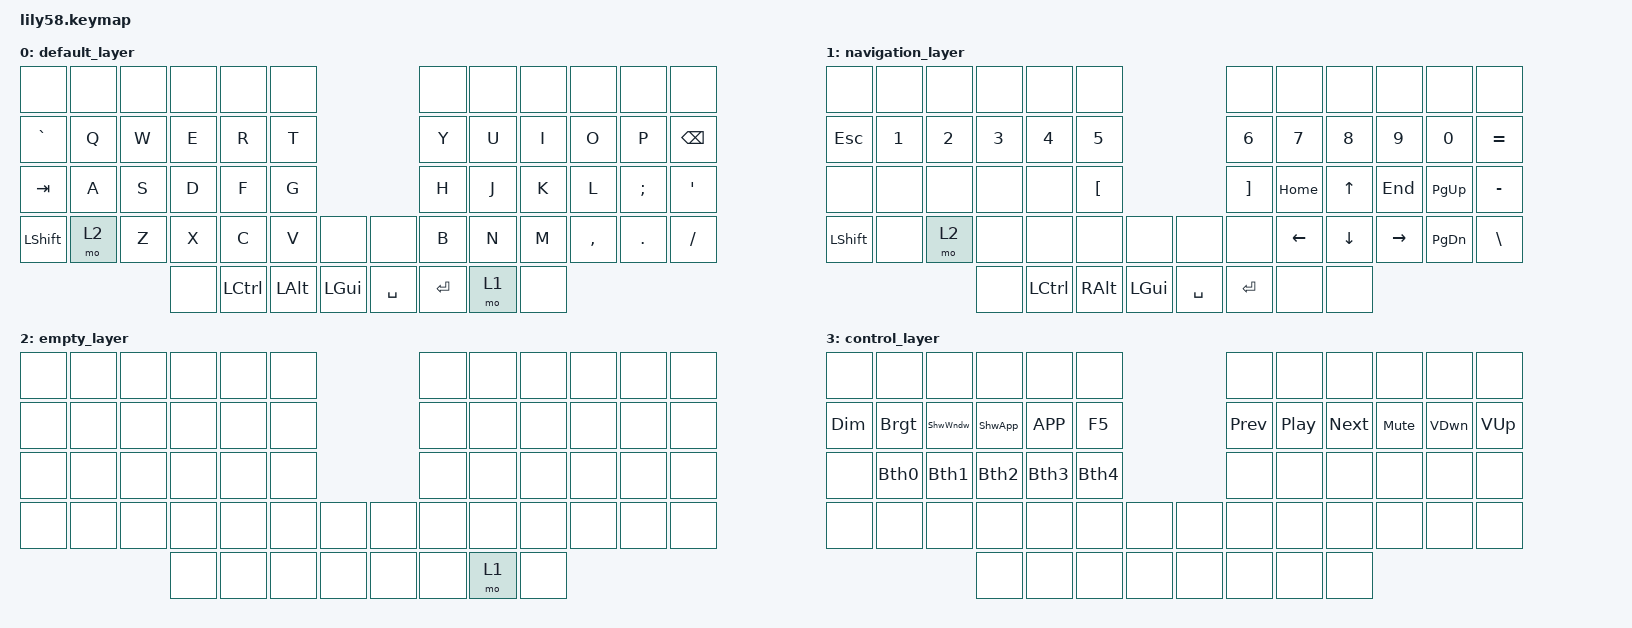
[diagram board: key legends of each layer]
/*
 * Copyright (c) 2020 The ZMK Contributors
 *
 * SPDX-License-Identifier: MIT
 */

#include <behaviors.dtsi>
#include <dt-bindings/zmk/keys.h>
#include <dt-bindings/zmk/bt.h>
#include <dt-bindings/zmk/ext_power.h>
#include <dt-bindings/zmk/outputs.h>

#define MO_TOG(layer) &mo_tog layer layer   // Macro to apply momentary-layer-on-hold/toggle-layer-on-tap to a specific layer
#define DEFAULT 0
#define NAV     1
#define EMP     2
#define CTRL    3


/ {
    conditional_layers {
        compatible = "zmk,conditional-layers";
        tri_layer {
            if-layers = <1 2>;
            then-layer = <3>;
        };
    };

    behaviors {
        // Rename C_AC_DESKTOP_SHOW_ALL_APPLICATIONS
            ShwApp: show_app {
                compatible = "zmk,behavior-mod-morph";
                #binding-cells = <0>;
                bindings = <&kp C_AC_DESKTOP_SHOW_ALL_APPLICATIONS>, <&kp C_AC_DESKTOP_SHOW_ALL_APPLICATIONS>;
                mods = <(MOD_LGUI)>;
            };
        // Rename C_AC_DESKTOP_SHOW_ALL_WINDOWS
            ShwWndw: show_window {
                compatible = "zmk,behavior-mod-morph";
                #binding-cells = <0>;
                bindings = <&kp C_AC_DESKTOP_SHOW_ALL_WINDOWS>, <&kp C_AC_DESKTOP_SHOW_ALL_WINDOWS>;
                mods = <(MOD_LGUI)>;
            };
        // CMD + BACKSPACE = DELETE
            bsdel: backspace_del {
                compatible = "zmk,behavior-mod-morph";
                #binding-cells = <0>;
                bindings = <&kp BACKSPACE>, <&kp DELETE>;
                mods = <(MOD_LGUI)>;
            };
        // Rename Bluetooth 0
            Bth0: bluetooth_0 {
                compatible = "zmk,behavior-mod-morph";
                #binding-cells = <0>;
                bindings = <&bt BT_SEL 0>, <&bt BT_SEL 0>;
                mods = <(MOD_LGUI)>;
            };
        // Rename Bluetooth 1
            Bth1: bluetooth_1 {
                compatible = "zmk,behavior-mod-morph";
                #binding-cells = <0>;
                bindings = <&bt BT_SEL 1>, <&bt BT_SEL 1>;
                mods = <(MOD_LGUI)>;
            };
        // Rename Bluetooth 2
            Bth2: bluetooth_2 {
                compatible = "zmk,behavior-mod-morph";
                #binding-cells = <0>;
                bindings = <&bt BT_SEL 2>, <&bt BT_SEL 2>;
                mods = <(MOD_LGUI)>;
            };
        // Rename Bluetooth 3
            Bth3: bluetooth_3 {
                compatible = "zmk,behavior-mod-morph";
                #binding-cells = <0>;
                bindings = <&bt BT_SEL 3>, <&bt BT_SEL 3>;
                mods = <(MOD_LGUI)>;
            };
        // Rename Bluetooth 4
            Bth4: bluetooth_4 {
                compatible = "zmk,behavior-mod-morph";
                #binding-cells = <0>;
                bindings = <&bt BT_SEL 4>, <&bt BT_SEL 4>;
                mods = <(MOD_LGUI)>;
            };
        // Rename Dim
            Dim: brightness_down {
                compatible = "zmk,behavior-mod-morph";
                #binding-cells = <0>;
                bindings = <&kp C_BRI_DN>, <&kp C_BRI_DN>;
                mods = <(MOD_LGUI)>;
            };
        // Rename Bright
            Brgt: brightness_up {
                compatible = "zmk,behavior-mod-morph";
                #binding-cells = <0>;
                bindings = <&kp C_BRI_UP>, <&kp C_BRI_UP>;
                mods = <(MOD_LGUI)>;
            };
        // Rename Previous
            Prev: previous {
                compatible = "zmk,behavior-mod-morph";
                #binding-cells = <0>;
                bindings = <&kp C_PREV>, <&kp C_PREV>;
                mods = <(MOD_LGUI)>;
            };
        // Rename Play Pause
            Play: play_pause {
                compatible = "zmk,behavior-mod-morph";
                #binding-cells = <0>;
                bindings = <&kp C_PP>, <&kp C_PP>;
                mods = <(MOD_LGUI)>;
            };
        // Rename Next
            Next: next {
                compatible = "zmk,behavior-mod-morph";
                #binding-cells = <0>;
                bindings = <&kp C_NEXT>, <&kp C_NEXT>;
                mods = <(MOD_LGUI)>;
            };
        // Rename Mute
            Mute: mute {
                compatible = "zmk,behavior-mod-morph";
                #binding-cells = <0>;
                bindings = <&kp C_MUTE>, <&kp C_MUTE>;
                mods = <(MOD_LGUI)>;
            };
        // Rename Volume Down
            VDwn: volume_down {
                compatible = "zmk,behavior-mod-morph";
                #binding-cells = <0>;
                bindings = <&kp C_VOL_DN>, <&kp C_VOL_DN>;
                mods = <(MOD_LGUI)>;
            };
        // Rename Volume Up
            VUp: volume_up {
                compatible = "zmk,behavior-mod-morph";
                #binding-cells = <0>;
                bindings = <&kp C_VOL_UP>, <&kp C_VOL_UP>;
                mods = <(MOD_LGUI)>;
            };
        // Rename USB Out
            OUsb: output_usb {
                compatible = "zmk,behavior-mod-morph";
                #binding-cells = <0>;
                bindings = <&out OUT_USB>, <&out OUT_USB>;
                mods = <(MOD_LGUI)>;
            };
        // Rename Bluetooth Out
            OBth: output_bluetooth {
                compatible = "zmk,behavior-mod-morph";
                #binding-cells = <0>;
                bindings = <&out OUT_BLE>, <&out OUT_BLE>;
                mods = <(MOD_LGUI)>;
            };
        // Rename Bluetooth Clear
            BtCl: bluetooth_clear {
                compatible = "zmk,behavior-mod-morph";
                #binding-cells = <0>;
                bindings = <&bt BT_CLR>, <&bt BT_CLR>;
                mods = <(MOD_LGUI)>;
            };
    };

    keymap {
        compatible = "zmk,keymap";

        default_layer {
            // Normal Layer
                // +--------+--------+--------+--------+--------+--------+                          +--------+--------+--------+--------+--------+--------+
                // |        |        |        |        |        |        |                          |        |        |        |        |        |        |
                // +--------+--------+--------+--------+--------+--------+                          +--------+--------+--------+--------+--------+--------+
                // |   `    |   q    |   w    |   e    |   r    |   t    |                          |   y    |   u    |   i    |   o    |   p    |  BSPC  |
                // +--------+--------+--------+--------+--------+--------+                          +--------+--------+--------+--------+--------+--------+
                // | TAB    |   a    |   s    |   d    |   f    |   g    |                          |   h    |   j    |   k    |   l    |   ;    |   '    |
                // +--------+--------+--------+--------+--------+--------+--------+        +--------+--------+--------+--------+--------+--------+--------+
                // | SHIFT  |  LYER2 |   z    |   x    |   c    |   v    |        |        |        |   b    |   n    |   m    |   ,    |   .    |   /    |
                // +--------+--------+--------+--------+--------+--------+--------+        +--------+--------+--------+--------+--------+--------+--------+
                //                            |        |  CTRL  |  OPT   |  CMD   |        | SPACE  | ENTER  | LAYER  |        |
                //                            +--------+--------+--------+--------+        +--------+--------+--------+--------+

            // Shift Layer (Momentary)
                // +--------+--------+--------+--------+--------+--------+                          +--------+--------+--------+--------+--------+--------+
                // |        |        |        |        |        |        |                          |        |        |        |        |        |        |
                // +--------+--------+--------+--------+--------+--------+                          +--------+--------+--------+--------+--------+--------+
                // |   ~    |   Q    |   W    |   E    |   R    |   T    |                          |   Y    |   U    |   I    |   O    |   P    |  BSPC  |
                // +--------+--------+--------+--------+--------+--------+                          +--------+--------+--------+--------+--------+--------+
                // | TAB    |   A    |   S    |   D    |   F    |   G    |                          |   H    |   J    |   K    |   L    |   ;    |   '    |
                // +--------+--------+--------+--------+--------+--------+--------+        +--------+--------+--------+--------+--------+--------+--------+
                // | SHIFT  | LAYER2 |   Z    |   X    |   C    |   V    |        |        |        |   B    |   N    |   M    |   ,    |   .    |   /    |
                // +--------+--------+--------+--------+--------+--------+--------+        +--------+--------+--------+--------+--------+--------+--------+
                //                            |        |  CTRL  |  OPT   |  CMD   |        |  SPCE  |  ENTR  |  LYER  |        |
                //                            +--------+--------+--------+--------+        +--------+--------+--------+--------+

            bindings = <
                    &none     &none    &none    &none     &none     &none                                  &none       &none       &none     &none     &none    &none
                    &kp GRAVE &kp Q    &kp W    &kp E     &kp R     &kp T                                  &kp Y       &kp U       &kp I     &kp O     &kp P    &kp BSPC
                    &kp TAB   &kp A    &kp S    &kp D     &kp F     &kp G                                  &kp H       &kp J       &kp K     &kp L     &kp SEMI &kp SQT
                    &kp LSHFT &mo 2    &kp Z    &kp X     &kp C     &kp V    &none              &none      &kp B       &kp N       &kp M     &kp COMMA &kp DOT  &kp FSLH 
                                                &none     &kp LCTRL &kp LALT &kp LGUI           &kp SPACE  &kp RET     &mo 1       &none
            >;
        };
        navigation_layer {
                                                                                                          
            // Navigation Layer (Momentary)
                // +--------+--------+--------+--------+--------+--------+                          +--------+--------+--------+--------+--------+--------+
                // |        |        |        |        |        |        |                          |        |        |        |        |        |        |
                // +--------+--------+--------+--------+--------+--------+                          +--------+--------+--------+--------+--------+--------+
                // |  ESC   |   1    |   2    |   3    |   4    |   5    |                          |   6    |   7    |   8    |   9    |   0    |   =    |
                // +--------+--------+--------+--------+--------+--------+                          +--------+--------+--------+--------+--------+--------+
                // |        |        |        |        |        |        |                          |        |  HOME  |   ^    |  END   | PG UP  |   -    |
                // +--------+--------+--------+--------+--------+--------+--------+        +--------+--------+--------+--------+--------+--------+--------+
                // | SHIFT  | LAYER2 |        |        |        |   [    |        |        |        |   ]    |   <-   |   v    |  ->    | PG DN  |   \    |
                // +--------+--------+--------+--------+--------+--------+--------+        +--------+--------+--------+--------+--------+--------+--------+
                //                            |        |  CTRL  |  OPT   |  CMD   |        |  SPCE  |  ENTR  |        |
                //                            +--------+--------+--------+--------+        +--------+--------+--------+

            // Shift Navigation Layer (Momentary)
                // +--------+--------+--------+--------+--------+--------+                          +--------+--------+--------+--------+--------+--------+
                // |        |        |        |        |        |        |                          |        |        |        |        |        |        |
                // +--------+--------+--------+--------+--------+--------+                          +--------+--------+--------+--------+--------+--------+
                // |  ESC   |   !    |   @    |   #    |   $    |   %    |                          |   ^    |   &    |   *    |   (    |   )    |   +    |
                // +--------+--------+--------+--------+--------+--------+                          +--------+--------+--------+--------+--------+--------+
                // |        |        |        |        |        |   {    |                          |   }    |  HOME  |   ^    |  END   | PG UP  |   _    |
                // +--------+--------+--------+--------+--------+--------+--------+        +--------+--------+--------+--------+--------+--------+--------+
                // |        | LAYER2 |        |        |        |        |        |        |        |        |   <-   |   v    |  ->    | PG DN  |   \    |
                // +--------+--------+--------+--------+--------+--------+--------+        +--------+--------+--------+--------+--------+--------+--------+
                //                            |        |  CTRL  |  OPT   |  CMD   |        |  SPCE  |  ENTR  |        |        |
                //                            +--------+--------+--------+--------+        +--------+--------+--------+--------+

            bindings = <
                    &none     &none    &none    &none     &none     &none                                  &none       &none       &none     &none     &none     &none
                    &kp ESC   &kp N1   &kp N2   &kp N3    &kp N4    &kp N5                                 &kp N6      &kp N7      &kp N8    &kp N9    &kp N0    &kp EQUAL
                    &none     &none    &none    &none     &none     &kp LBKT                               &kp RBKT    &kp HOME    &kp UP    &kp END   &kp PG_UP &kp MINUS
                    &kp LSHFT &none    &mo 2    &none    &none     &none      &none                 &none      &none       &kp LEFT    &kp DOWN  &kp RIGHT &kp PG_DN &kp BSLH
                                                &none     &kp LCTRL &kp RALT  &kp LGUI          &kp SPACE  &kp RET     &none       &none
            >;
        };
        empty_layer {
            // Empty Layer (Momentary)
                // +--------+--------+--------+--------+--------+--------+                          +--------+--------+--------+--------+--------+--------+
                // |        |        |        |        |        |        |                          |        |        |        |        |        |        |
                // +--------+--------+--------+--------+--------+--------+                          +--------+--------+--------+--------+--------+--------+
                // |        |        |        |        |        |        |                          |        |        |        |        |        |        |
                // +--------+--------+--------+--------+--------+--------+                          +--------+--------+--------+--------+--------+--------+
                // |        |        |        |        |        |        |                          |        |        |        |        |        |        |
                // +--------+--------+--------+--------+--------+--------+--------+        +--------+--------+--------+--------+--------+--------+--------+
                // |        |        |        |        |        |        |        |        |        |        |        |        |        |        |        |
                // +--------+--------+--------+--------+--------+--------+--------+        +--------+--------+--------+--------+--------+--------+--------+
                //                            |        |        |        |        |        |        |        | SETTNG |        |
                //                            +--------+--------+--------+--------+        +--------+--------+--------+--------+

            
            bindings = <
                    &none     &none    &none    &none     &none     &none                                  &none       &none       &none     &none     &none     &none
                    &none     &none    &none    &none     &none     &none                                  &none       &none       &none     &none     &none     &none
                    &none     &none    &none    &none     &none     &none                                  &none       &none       &none     &none     &none     &none
                    &none     &none    &none    &none     &none     &none     &none              &none     &none       &none       &none     &none     &none     &none
                                                &none     &none     &none     &none              &none     &none       &mo 1       &none
            >;
        };
        control_layer {
            //
                // +--------+--------+--------+--------+--------+--------+                          +--------+--------+--------+--------+--------+--------+
                // |        |        |        |        |        |        |                          |        |        |        |        |        |        |
                // +--------+--------+--------+--------+--------+--------+                          +--------+--------+--------+--------+--------+--------+
                // |  DIM   | BRIGHT | WINDOW |SHOWAPP |  APP   |   F5   |                          |  BACK  |  PLAY  |  NEXT  |  MUTE  | V DOWN |  V UP  |
                // +--------+--------+--------+--------+--------+--------+                          +--------+--------+--------+--------+--------+--------+
                // |        |  BT1   |  BT2   |  BT3   |  BT4   |  BT5   |                          |        |        |        |        |        |        |
                // +--------+--------+--------+--------+--------+--------+--------+        +--------+--------+--------+--------+--------+--------+--------+
                // |        |        |        |        |        |        |        |        |        |        |        |        |        |        |        |
                // +--------+--------+--------+--------+--------+--------+--------+        +--------+--------+--------+--------+--------+--------+--------+
                //                            |        |        |        |        |        |        |        |        |        |
                //                            +--------+--------+--------+--------+        +--------+--------+--------+--------+

            bindings = <
                    &none     &none    &none    &none     &none     &none                                  &none       &none       &none     &none     &none     &none
                    &Dim      &Brgt    &ShwWndw &ShwApp   &kp K_APP &kp F5                                 &Prev       &Play       &Next     &Mute     &VDwn     &VUp
                    &none     &Bth0    &Bth1    &Bth2     &Bth3     &Bth4                                  &none       &none       &none     &none     &none     &none 
                    &none     &none    &none    &none     &none     &none    &none                 &none   &none       &none       &none     &none     &none     &none
                                                &none     &none     &none    &none                 &none   &none       &none       &none
            >;
        };
    };
};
